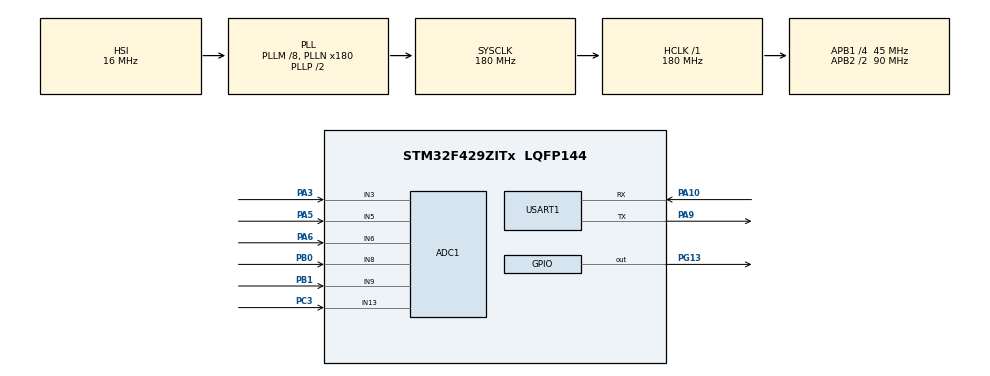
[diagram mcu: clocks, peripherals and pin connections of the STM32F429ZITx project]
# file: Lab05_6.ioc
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ADC1.Channel-10\#ChannelRegularConversion=ADC_CHANNEL_3
ADC1.Channel-11\#ChannelRegularConversion=ADC_CHANNEL_5
ADC1.Channel-12\#ChannelRegularConversion=ADC_CHANNEL_9
ADC1.Channel-13\#ChannelRegularConversion=ADC_CHANNEL_6
ADC1.Channel-14\#ChannelRegularConversion=ADC_CHANNEL_8
ADC1.Channel-9\#ChannelRegularConversion=ADC_CHANNEL_13
ADC1.ClockPrescaler=ADC_CLOCK_SYNC_PCLK_DIV8
ADC1.ContinuousConvMode=ENABLE
ADC1.DMAContinuousRequests=ENABLE
ADC1.InjNumberOfConversion=0
ADC1.NbrOfConversion=6
ADC1.NbrOfConversionFlag=1
ADC1.Rank-10\#ChannelRegularConversion=2
ADC1.Rank-11\#ChannelRegularConversion=3
ADC1.Rank-12\#ChannelRegularConversion=4
ADC1.Rank-13\#ChannelRegularConversion=5
ADC1.Rank-14\#ChannelRegularConversion=6
ADC1.Rank-9\#ChannelRegularConversion=1
ADC1.SamplingTime-10\#ChannelRegularConversion=ADC_SAMPLETIME_15CYCLES
ADC1.SamplingTime-11\#ChannelRegularConversion=ADC_SAMPLETIME_15CYCLES
ADC1.SamplingTime-12\#ChannelRegularConversion=ADC_SAMPLETIME_15CYCLES
ADC1.SamplingTime-13\#ChannelRegularConversion=ADC_SAMPLETIME_15CYCLES
ADC1.SamplingTime-14\#ChannelRegularConversion=ADC_SAMPLETIME_15CYCLES
ADC1.SamplingTime-9\#ChannelRegularConversion=ADC_SAMPLETIME_15CYCLES
ADC1.ScanConvMode=ENABLE
ADC1.master=1
Dma.ADC1.0.Direction=DMA_PERIPH_TO_MEMORY
Dma.ADC1.0.FIFOMode=DMA_FIFOMODE_DISABLE
Dma.ADC1.0.Instance=DMA2_Stream0
Dma.ADC1.0.MemDataAlignment=DMA_MDATAALIGN_WORD
Dma.ADC1.0.MemInc=DMA_MINC_ENABLE
Dma.ADC1.0.Mode=DMA_CIRCULAR
Dma.ADC1.0.PeriphDataAlignment=DMA_PDATAALIGN_WORD
Dma.ADC1.0.PeriphInc=DMA_PINC_DISABLE
Dma.ADC1.0.Priority=DMA_PRIORITY_LOW
Dma.Request0=ADC1
Mcu.Family=STM32F4
Mcu.Name=STM32F429ZITx
Mcu.Package=LQFP144
NVIC.DMA2_Stream0_IRQn=true\:1\:0\:true\:false\:true\:false\:true
NVIC.PriorityGroup=NVIC_PRIORITYGROUP_2
PA10.Mode=Asynchronous
PA10.Signal=USART1_RX
PA3.Signal=ADCx_IN3
PA5.Signal=ADCx_IN5
PA6.Signal=ADCx_IN6
PA9.Mode=Asynchronous
PA9.Signal=USART1_TX
PB0.Signal=ADCx_IN8
PB1.Signal=ADCx_IN9
PC3.Signal=ADCx_IN13
PG13.Signal=GPIO_Output
ProjectManager.HeapSize=0x200
ProjectManager.StackSize=0x400
ProjectManager.TargetToolchain=STM32CubeIDE
RCC.48MHZClocksFreq_Value=90000000
RCC.AHBFreq_Value=180000000
RCC.APB1CLKDivider=RCC_HCLK_DIV4
RCC.APB1Freq_Value=45000000
RCC.APB1TimFreq_Value=90000000
RCC.APB2CLKDivider=RCC_HCLK_DIV2
RCC.APB2Freq_Value=90000000
RCC.APB2TimFreq_Value=180000000
RCC.CortexFreq_Value=180000000
RCC.HCLKFreq_Value=180000000
RCC.HSE_VALUE=25000000
RCC.HSI_VALUE=16000000
RCC.LSE_VALUE=32768
RCC.PLLM=8
RCC.PLLN=180
RCC.SYSCLKFreq_VALUE=180000000
RCC.SYSCLKSource=RCC_SYSCLKSOURCE_PLLCLK
RCC.VCOOutputFreq_Value=360000000
SH.ADCx_IN13.0=ADC1_IN13,IN13
SH.ADCx_IN3.0=ADC1_IN3,IN3
SH.ADCx_IN5.0=ADC1_IN5,IN5
SH.ADCx_IN6.0=ADC1_IN6,IN6
SH.ADCx_IN8.0=ADC1_IN8,IN8
SH.ADCx_IN9.0=ADC1_IN9,IN9
USART1.VirtualMode=VM_ASYNC
board=custom

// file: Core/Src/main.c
/* USER CODE BEGIN Header */
/**
  ******************************************************************************
  * @file           : main.c
  * @brief          : Main program body
  ******************************************************************************
  * @attention
  *
  * <h2><center>&copy; Copyright (c) 2021 STMicroelectronics.
  * All rights reserved.</center></h2>
  *
  * This software component is licensed by ST under BSD 3-Clause license,
  * the "License"; You may not use this file except in compliance with the
  * License. You may obtain a copy of the License at:
  *                        opensource.org/licenses/BSD-3-Clause
  *
  ******************************************************************************
  */
/* USER CODE END Header */
#include "main.h"
#include "adc.h"
#include "dma.h"
#include "usart.h"
#include "gpio.h"

/* USER CODE BEGIN Includes */
#include "string.h"
/* USER CODE END Includes */

/* USER CODE BEGIN PV */

uint8_t ch = 6;
uint32_t adc_val[6];

/* USER CODE END PV */

void SystemClock_Config(void);

/* USER CODE BEGIN 0 */

void displayHEX(uint32_t value[]){

	char hexString[80];

	for(uint8_t i = 0; i<ch; i++){
		sprintf(hexString,"ADC1_CH%d 0x%08X Vin = %.2f V RawValue = %d\r\n",i, value[i], value[i]*3.3/4096.0, value[i]);
		HAL_UART_Transmit(&huart1, (uint8_t*) hexString, strlen(hexString), 100);
		//if(i == ch/2-1) HAL_UART_Transmit(&huart1, (uint8_t*) "\n", 1, 100);
	}

	sprintf(hexString,"------------------------------------------\r\n");
	HAL_UART_Transmit(&huart1, (uint8_t*) hexString, strlen(hexString), 100);

}

/* USER CODE END 0 */

int main(void)
{

  /* MCU Configuration--------------------------------------------------------*/

  /* Reset of all peripherals, Initializes the Flash interface and the Systick. */
  HAL_Init();

  /* Configure the system clock */
  SystemClock_Config();

  /* Initialize all configured peripherals */
  MX_GPIO_Init();
  MX_ADC1_Init();
  MX_DMA_Init();
  MX_USART1_UART_Init();
  /* USER CODE BEGIN 2 */

  HAL_ADC_Start_DMA(&hadc1, adc_val, ch);

  /* USER CODE END 2 */

  /* Infinite loop */
  /* USER CODE BEGIN WHILE */
  while (1)
  {

	  displayHEX(adc_val);
	  HAL_Delay(150);

    /* USER CODE END WHILE */

  }
}

void SystemClock_Config(void)
{
  RCC_OscInitTypeDef RCC_OscInitStruct = {0};
  RCC_ClkInitTypeDef RCC_ClkInitStruct = {0};

  /** Configure the main internal regulator output voltage
  */
  __HAL_RCC_PWR_CLK_ENABLE();
  __HAL_PWR_VOLTAGESCALING_CONFIG(PWR_REGULATOR_VOLTAGE_SCALE1);
  /** Initializes the RCC Oscillators according to the specified parameters
  * in the RCC_OscInitTypeDef structure.
  */
  RCC_OscInitStruct.OscillatorType = RCC_OSCILLATORTYPE_HSI;
  RCC_OscInitStruct.HSIState = RCC_HSI_ON;
  RCC_OscInitStruct.HSICalibrationValue = RCC_HSICALIBRATION_DEFAULT;
  RCC_OscInitStruct.PLL.PLLState = RCC_PLL_ON;
  RCC_OscInitStruct.PLL.PLLSource = RCC_PLLSOURCE_HSI;
  RCC_OscInitStruct.PLL.PLLM = 8;
  RCC_OscInitStruct.PLL.PLLN = 180;
  RCC_OscInitStruct.PLL.PLLP = RCC_PLLP_DIV2;
  RCC_OscInitStruct.PLL.PLLQ = 4;
  if (HAL_RCC_OscConfig(&RCC_OscInitStruct) != HAL_OK)
  {
    Error_Handler();
  }
  /** Activate the Over-Drive mode
  */
  if (HAL_PWREx_EnableOverDrive() != HAL_OK)
  {
    Error_Handler();
  }
  /** Initializes the CPU, AHB and APB buses clocks
  */
  RCC_ClkInitStruct.ClockType = RCC_CLOCKTYPE_HCLK|RCC_CLOCKTYPE_SYSCLK
                              |RCC_CLOCKTYPE_PCLK1|RCC_CLOCKTYPE_PCLK2;
  RCC_ClkInitStruct.SYSCLKSource = RCC_SYSCLKSOURCE_PLLCLK;
  RCC_ClkInitStruct.AHBCLKDivider = RCC_SYSCLK_DIV1;
  RCC_ClkInitStruct.APB1CLKDivider = RCC_HCLK_DIV4;
  RCC_ClkInitStruct.APB2CLKDivider = RCC_HCLK_DIV2;

  if (HAL_RCC_ClockConfig(&RCC_ClkInitStruct, FLASH_LATENCY_5) != HAL_OK)
  {
    Error_Handler();
  }
}

/* USER CODE BEGIN 4 */

void HAL_ADC_ConvHalfCpltCallback(ADC_HandleTypeDef* hadc){

	HAL_GPIO_WritePin(GPIOG, GPIO_PIN_13, 1);

}
void HAL_ADC_ConvCpltCallback(ADC_HandleTypeDef* hadc){

	HAL_GPIO_WritePin(GPIOG, GPIO_PIN_13, 0);

	HAL_ADC_Start_DMA(&hadc1, adc_val, ch);
}

/* USER CODE END 4 */

void Error_Handler(void)
{
  __disable_irq();
  while (1)
  {
  }
}

/************************ (C) COPYRIGHT STMicroelectronics *****END OF FILE****/
